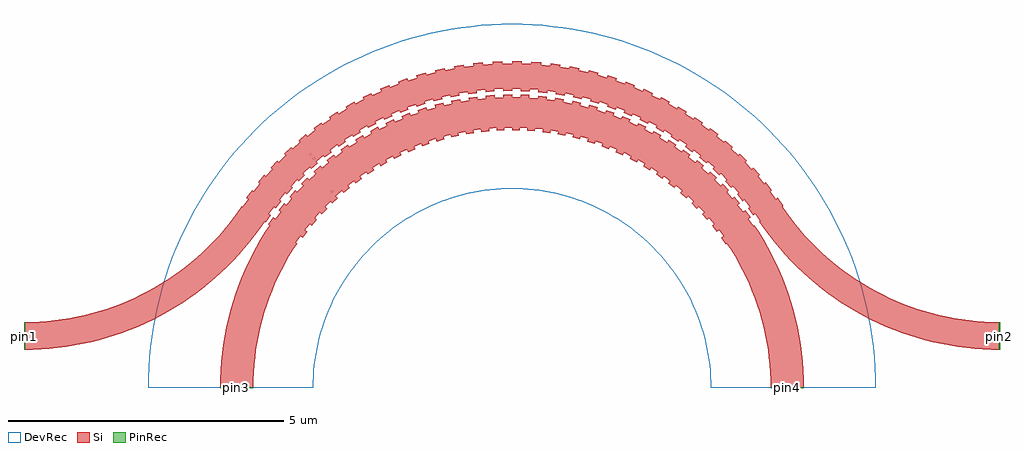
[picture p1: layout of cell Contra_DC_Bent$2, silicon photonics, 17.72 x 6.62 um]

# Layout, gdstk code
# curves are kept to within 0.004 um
import gdstk
lib = gdstk.Library(unit=1e-6, precision=1e-09)
def P(c, l, *ps):  # polygons
    for p in ps: c.add(gdstk.Polygon(p, *l))
Si = (1, 0)
PinRec = (1, 10)
DevRec = (68, 0)

contra_dc_bent_2 = lib.new_cell('Contra_DC_Bent$2')
P(contra_dc_bent_2, Si, [(-3.803,2.719),(-4.291,3.068),(-4.198,3.194),(-3.721,2.831)],
  [(-3.635,2.94),(-4.102,3.317),(-4.001,3.437),(-3.546,3.046)],
  [(3.721,2.831),(3.635,2.94),(4.102,3.317),(4.198,3.194)],
  [(3.882,2.605),(3.803,2.719),(4.291,3.068),(4.38,2.939)],
  [(-3.924,2.633),(-4.422,2.967),(-4.332,3.097),(-3.844,2.748)],
  [(-3.761,2.861),(-4.238,3.224),(-4.14,3.348),(-3.674,2.971)],
  [(3.844,2.748),(3.761,2.861),(4.238,3.224),(4.332,3.097)],
  [(8.852,0.689),(8.55,0.698),(8.248,0.724),(7.949,0.768),(7.652,0.828),(7.36,0.906),(7.216,0.951),(6.931,1.053),(6.653,1.172),(6.382,1.307),(6.119,1.457),(5.865,1.622),(5.622,1.801),(5.504,1.896),(5.276,2.095),(5.061,2.308),(4.858,2.532),(4.668,2.768),(4.492,3.014),(4.908,3.293),(5.067,3.07),(5.238,2.857),(5.518,2.556),(5.718,2.37),(5.929,2.195),(6.15,2.033),(6.379,1.884),(6.617,1.748),(6.862,1.626),(7.114,1.519),(7.371,1.426),(7.634,1.348),(8.035,1.26),(8.306,1.221),(8.578,1.197),(8.852,1.189)],
  [(-8.852,0.689),(-8.852,1.189),(-8.578,1.197),(-8.306,1.221),(-8.035,1.26),(-7.634,1.348),(-7.371,1.426),(-7.114,1.519),(-6.862,1.626),(-6.617,1.748),(-6.379,1.884),(-6.15,2.033),(-5.929,2.195),(-5.718,2.37),(-5.518,2.556),(-5.238,2.857),(-5.067,3.07),(-4.908,3.293),(-4.492,3.014),(-4.668,2.768),(-4.858,2.532),(-5.061,2.308),(-5.276,2.095),(-5.504,1.896),(-5.622,1.801),(-5.865,1.622),(-6.119,1.457),(-6.382,1.307),(-6.653,1.172),(-6.931,1.053),(-7.073,1),(-7.36,0.906),(-7.652,0.828),(-7.949,0.768),(-8.248,0.724),(-8.55,0.698)],
  [(2.014,4.219),(1.888,4.277),(2.13,4.826),(2.272,4.76)],
  [(2.261,4.092),(2.138,4.157),(2.413,4.691),(2.551,4.617)],
  [(2.5,3.951),(2.381,4.023),(2.687,4.539),(2.821,4.458)],
  [(2.73,3.795),(2.616,3.875),(2.952,4.372),(3.08,4.282)],
  [(2.95,3.627),(2.841,3.713),(3.206,4.189),(3.329,4.092)],
  [(3.16,3.445),(3.057,3.537),(3.449,3.991),(3.566,3.887)],
  [(3.359,3.251),(3.261,3.35),(3.68,3.78),(3.79,3.669)],
  [(3.546,3.046),(3.454,3.15),(3.897,3.555),(4.001,3.437)],
  [(0.139,4.673),(0,4.675),(0,5.275),(0.157,5.273)],
  [(0.416,4.656),(0.277,4.667),(0.313,5.266),(0.469,5.254)],
  [(0.692,4.624),(0.554,4.642),(0.625,5.238),(0.78,5.217)],
  [(0.965,4.574),(0.828,4.601),(0.935,5.192),(1.088,5.161)],
  [(0.28,4.717),(0.14,4.723),(0.158,5.323),(0.316,5.316)],
  [(0.56,4.692),(0.42,4.706),(0.474,5.304),(0.631,5.287)],
  [(0.837,4.65),(0.699,4.673),(0.788,5.266),(0.944,5.241)],
  [(1.112,4.592),(0.975,4.623),(1.099,5.21),(1.253,5.175)],
  [(1.382,4.518),(1.248,4.557),(1.406,5.136),(1.558,5.092)],
  [(1.648,4.428),(1.516,4.475),(1.708,5.043),(1.857,4.991)],
  [(1.908,4.323),(1.779,4.377),(2.005,4.933),(2.15,4.872)],
  [(2.161,4.202),(2.036,4.264),(2.294,4.806),(2.436,4.735)],
  [(2.407,4.066),(2.285,4.136),(2.575,4.661),(2.712,4.582)],
  [(2.644,3.916),(2.526,3.993),(2.847,4.5),(2.98,4.413)],
  [(2.872,3.752),(2.759,3.836),(3.109,4.323),(3.236,4.229)],
  [(3.089,3.575),(2.982,3.665),(3.36,4.131),(3.482,4.029)],
  [(3.296,3.386),(3.194,3.482),(3.6,3.924),(3.715,3.815)],
  [(3.491,3.184),(3.395,3.286),(3.826,3.704),(3.934,3.588)],
  [(3.674,2.971),(3.584,3.079),(4.039,3.47),(4.14,3.348)],
  [(1.234,4.509),(1.1,4.544),(1.241,5.127),(1.393,5.088)],
  [(0.32,5.38),(0.16,5.388),(0.175,5.887),(0.35,5.88)],
  [(0.639,5.352),(0.479,5.369),(0.524,5.867),(0.698,5.849)],
  [(0.955,5.305),(0.797,5.331),(0.871,5.825),(1.044,5.797)],
  [(1.268,5.239),(1.112,5.274),(1.215,5.763),(1.386,5.725)],
  [(1.577,5.154),(1.423,5.199),(1.555,5.681),(1.723,5.632)],
  [(1.88,5.051),(1.729,5.105),(1.89,5.579),(2.054,5.52)],
  [(2.177,4.931),(2.029,4.993),(2.217,5.457),(2.378,5.388)],
  [(2.465,4.793),(2.322,4.864),(2.537,5.315),(2.694,5.238)],
  [(2.746,4.638),(2.607,4.718),(2.848,5.155),(3,5.069)],
  [(3.016,4.467),(2.882,4.555),(3.149,4.977),(3.296,4.882)],
  [(3.276,4.28),(3.147,4.376),(3.439,4.782),(3.58,4.677)],
  [(3.524,4.078),(3.401,4.181),(3.717,4.569),(3.851,4.457)],
  [(3.76,3.862),(3.644,3.972),(3.982,4.34),(4.109,4.22)],
  [(3.982,3.632),(3.873,3.749),(4.232,4.096),(4.352,3.969)],
  [(4.191,3.389),(4.089,3.512),(4.468,3.838),(4.58,3.704)],
  [(4.385,3.135),(4.29,3.263),(4.688,3.566),(4.791,3.425)],
  [(0.161,5.428),(0,5.43),(0,5.93),(0.176,5.927)],
  [(0.483,5.408),(0.322,5.42),(0.352,5.92),(0.528,5.906)],
  [(0.803,5.37),(0.643,5.392),(0.703,5.888),(0.877,5.865)],
  [(1.12,5.313),(0.962,5.344),(1.051,5.836),(1.224,5.802)],
  [(1.434,5.237),(1.278,5.278),(1.395,5.763),(1.566,5.72)],
  [(1.742,5.143),(1.589,5.192),(1.735,5.671),(1.903,5.617)],
  [(2.044,5.03),(1.894,5.089),(2.068,5.558),(2.233,5.494)],
  [(2.339,4.9),(2.193,4.968),(2.395,5.425),(2.555,5.352)],
  [(2.626,4.753),(2.484,4.829),(2.712,5.273),(2.868,5.19)],
  [(2.903,4.589),(2.766,4.673),(3.021,5.103),(3.171,5.011)],
  [(3.171,4.408),(3.038,4.5),(3.318,4.915),(3.463,4.814)],
  [(3.427,4.212),(3.3,4.312),(3.604,4.709),(3.742,4.6)],
  [(3.671,4.001),(3.55,4.109),(3.877,4.487),(4.009,4.37)],
  [(3.902,3.777),(3.788,3.891),(4.137,4.249),(4.261,4.124)],
  [(4.119,3.538),(4.012,3.659),(4.381,3.996),(4.498,3.864)],
  [(4.322,3.288),(4.222,3.415),(4.611,3.729),(4.72,3.59)],
  [(4.509,3.025),(4.417,3.158),(4.824,3.449),(4.924,3.304)],
  [(1.5,4.428),(1.368,4.47),(1.543,5.044),(1.692,4.996)],
  [(1.76,4.331),(1.631,4.381),(1.84,4.944),(1.986,4.887)],
  [(-3.147,4.376),(-3.439,4.782),(-3.296,4.882),(-3.016,4.467)],
  [(-2.882,4.555),(-3.149,4.977),(-3,5.069),(-2.746,4.638)],
  [(-2.607,4.718),(-2.848,5.155),(-2.694,5.238),(-2.465,4.793)],
  [(-2.322,4.864),(-2.537,5.315),(-2.378,5.388),(-2.177,4.931)],
  [(-2.029,4.993),(-2.217,5.457),(-2.054,5.52),(-1.88,5.051)],
  [(-1.729,5.105),(-1.89,5.579),(-1.723,5.632),(-1.577,5.154)],
  [(-1.423,5.199),(-1.555,5.681),(-1.386,5.725),(-1.268,5.239)],
  [(-1.112,5.274),(-1.215,5.763),(-1.044,5.797),(-0.955,5.305)],
  [(-0.797,5.331),(-0.871,5.825),(-0.698,5.849),(-0.639,5.352)],
  [(-0.479,5.369),(-0.524,5.867),(-0.35,5.88),(-0.32,5.38)],
  [(-0.16,5.388),(-0.175,5.887),(0,5.89),(0,5.39)],
  [(-3.194,3.482),(-3.6,3.924),(-3.482,4.029),(-3.089,3.575)],
  [(-2.982,3.665),(-3.36,4.131),(-3.236,4.229),(-2.872,3.752)],
  [(-2.759,3.836),(-3.109,4.323),(-2.98,4.413),(-2.644,3.916)],
  [(-2.526,3.993),(-2.847,4.5),(-2.712,4.582),(-2.407,4.066)],
  [(-2.285,4.136),(-2.575,4.661),(-2.436,4.735),(-2.161,4.202)],
  [(-2.036,4.264),(-2.294,4.806),(-2.15,4.872),(-1.908,4.323)],
  [(-1.779,4.377),(-2.005,4.933),(-1.857,4.991),(-1.648,4.428)],
  [(-1.516,4.475),(-1.708,5.043),(-1.558,5.092),(-1.382,4.518)],
  [(-1.248,4.557),(-1.406,5.136),(-1.253,5.175),(-1.112,4.592)],
  [(-0.975,4.623),(-1.099,5.21),(-0.944,5.241),(-0.837,4.65)],
  [(-0.699,4.673),(-0.788,5.266),(-0.631,5.287),(-0.56,4.692)],
  [(-0.42,4.706),(-0.474,5.304),(-0.316,5.316),(-0.28,4.717)],
  [(-0.14,4.723),(-0.158,5.323),(0,5.325),(0,4.725)],
  [(-2.381,4.023),(-2.687,4.539),(-2.551,4.617),(-2.261,4.092)],
  [(-2.138,4.157),(-2.413,4.691),(-2.272,4.76),(-2.014,4.219)],
  [(-1.888,4.277),(-2.13,4.826),(-1.986,4.887),(-1.76,4.331)],
  [(-4.417,3.158),(-4.824,3.449),(-4.72,3.59),(-4.322,3.288)],
  [(-4.222,3.415),(-4.611,3.729),(-4.498,3.864),(-4.119,3.538)],
  [(-4.012,3.659),(-4.381,3.996),(-4.261,4.124),(-3.902,3.777)],
  [(-3.788,3.891),(-4.137,4.249),(-4.009,4.37),(-3.671,4.001)],
  [(-3.55,4.109),(-3.877,4.487),(-3.742,4.6),(-3.427,4.212)],
  [(-3.3,4.312),(-3.604,4.709),(-3.463,4.814),(-3.171,4.408)],
  [(-3.038,4.5),(-3.318,4.915),(-3.171,5.011),(-2.903,4.589)],
  [(-2.766,4.673),(-3.021,5.103),(-2.868,5.19),(-2.626,4.753)],
  [(-2.484,4.829),(-2.712,5.273),(-2.555,5.352),(-2.339,4.9)],
  [(-2.193,4.968),(-2.395,5.425),(-2.233,5.494),(-2.044,5.03)],
  [(-1.894,5.089),(-2.068,5.558),(-1.903,5.617),(-1.742,5.143)],
  [(-1.589,5.192),(-1.735,5.671),(-1.566,5.72),(-1.434,5.237)],
  [(-1.278,5.278),(-1.395,5.763),(-1.224,5.802),(-1.12,5.313)],
  [(-0.962,5.344),(-1.051,5.836),(-0.877,5.865),(-0.803,5.37)],
  [(-0.643,5.392),(-0.703,5.888),(-0.528,5.906),(-0.483,5.408)],
  [(-0.322,5.42),(-0.352,5.92),(-0.176,5.927),(-0.161,5.428)],
  [(-1.631,4.381),(-1.84,4.944),(-1.692,4.996),(-1.5,4.428)],
  [(-1.368,4.47),(-1.543,5.044),(-1.393,5.088),(-1.234,4.509)],
  [(-1.1,4.544),(-1.241,5.127),(-1.088,5.161),(-0.965,4.574)],
  [(-0.828,4.601),(-0.935,5.192),(-0.78,5.217),(-0.692,4.624)],
  [(-0.554,4.642),(-0.625,5.238),(-0.469,5.254),(-0.416,4.656)],
  [(-0.277,4.667),(-0.313,5.266),(-0.157,5.273),(-0.139,4.673)],
  [(-3.454,3.15),(-3.897,3.555),(-3.79,3.669),(-3.359,3.251)],
  [(-3.261,3.35),(-3.68,3.78),(-3.566,3.887),(-3.16,3.445)],
  [(-3.057,3.537),(-3.449,3.991),(-3.329,4.092),(-2.95,3.627)],
  [(-2.841,3.713),(-3.206,4.189),(-3.08,4.282),(-2.73,3.795)],
  [(-2.616,3.875),(-2.952,4.372),(-2.821,4.458),(-2.5,3.951)],
  [(-3.584,3.079),(-4.039,3.47),(-3.934,3.588),(-3.491,3.184)],
  [(-3.395,3.286),(-3.826,3.704),(-3.715,3.815),(-3.296,3.386)],
  [(-4.476,3.003),(-4.891,3.282),(-4.791,3.425),(-4.385,3.135)],
  [(-4.29,3.263),(-4.688,3.566),(-4.58,3.704),(-4.191,3.389)],
  [(-4.089,3.512),(-4.468,3.838),(-4.352,3.969),(-3.982,3.632)],
  [(-3.873,3.749),(-4.232,4.096),(-4.109,4.22),(-3.76,3.862)],
  [(-3.644,3.972),(-3.982,4.34),(-3.851,4.457),(-3.524,4.078)],
  [(-3.401,4.181),(-3.717,4.569),(-3.58,4.677),(-3.276,4.28)],
  [(-5.3,0),(-5.291,0.313),(-5.263,0.625),(-5.242,0.78),(-5.217,0.935),(-5.153,1.241),(-5.07,1.543),(-4.97,1.84),(-4.914,1.986),(-4.788,2.273),(-4.719,2.413),(-4.568,2.688),(-4.401,2.953),(-3.903,2.619),(-4.051,2.384),(-4.246,2.016),(-4.304,1.889),(-4.408,1.632),(-4.496,1.369),(-4.535,1.235),(-4.6,0.965),(-4.649,0.692),(-4.682,0.416),(-4.692,0.278),(-4.7,0)],
  [(4.7,0),(4.692,0.278),(4.682,0.416),(4.649,0.692),(4.6,0.965),(4.535,1.235),(4.496,1.369),(4.408,1.632),(4.304,1.889),(4.246,2.016),(4.051,2.384),(3.903,2.619),(4.401,2.953),(4.568,2.688),(4.719,2.413),(4.853,2.13),(4.97,1.84),(5.07,1.543),(5.153,1.241),(5.217,0.935),(5.263,0.625),(5.279,0.469),(5.298,0.157),(5.3,0)])
P(contra_dc_bent_2, DevRec, [(-6.61,0),(-6.6,0.371),(-6.587,0.556),(-6.545,0.924),(-6.483,1.29),(-6.444,1.471),(-6.352,1.83),(-6.239,2.183),(-6.107,2.53),(-6.033,2.7),(-5.873,3.034),(-5.693,3.358),(-5.496,3.672),(-5.281,3.975),(-5.05,4.265),(-4.929,4.405),(-4.674,4.674),(-4.405,4.929),(-4.265,5.05),(-3.975,5.281),(-3.672,5.496),(-3.358,5.693),(-3.034,5.873),(-2.868,5.955),(-2.53,6.107),(-2.183,6.239),(-1.83,6.352),(-1.471,6.444),(-1.29,6.483),(-0.924,6.545),(-0.556,6.587),(-0.371,6.6),(0,6.61),(0.371,6.6),(0.556,6.587),(0.924,6.545),(1.29,6.483),(1.471,6.444),(1.83,6.352),(2.183,6.239),(2.53,6.107),(2.7,6.033),(3.034,5.873),(3.358,5.693),(3.672,5.496),(3.975,5.281),(4.265,5.05),(4.405,4.929),(4.674,4.674),(4.929,4.405),(5.05,4.265),(5.281,3.975),(5.496,3.672),(5.693,3.358),(5.873,3.034),(5.955,2.868),(6.107,2.53),(6.239,2.183),(6.352,1.83),(6.444,1.471),(6.483,1.29),(6.545,0.924),(6.587,0.556),(6.6,0.371),(6.61,0),(3.61,0),(3.597,0.303),(3.575,0.505),(3.541,0.704),(3.496,0.902),(3.44,1.096),(3.335,1.381),(3.252,1.566),(3.16,1.746),(3.002,2.006),(2.884,2.171),(2.758,2.329),(2.553,2.553),(2.329,2.758),(2.171,2.884),(2.006,3.002),(1.746,3.16),(1.566,3.252),(1.381,3.335),(1.096,3.44),(0.902,3.496),(0.704,3.541),(0.505,3.575),(0.303,3.597),(0,3.61),(-0.303,3.597),(-0.505,3.575),(-0.704,3.541),(-0.902,3.496),(-1.096,3.44),(-1.381,3.335),(-1.566,3.252),(-1.746,3.16),(-2.006,3.002),(-2.171,2.884),(-2.329,2.758),(-2.553,2.553),(-2.758,2.329),(-2.884,2.171),(-3.002,2.006),(-3.16,1.746),(-3.252,1.566),(-3.335,1.381),(-3.44,1.096),(-3.496,0.902),(-3.541,0.704),(-3.575,0.505),(-3.597,0.303),(-3.61,0)])
contra_dc_bent_2.add(gdstk.FlexPath([(8.842,0.939),(8.862,0.939)], 0.5, ends="flush", simple_path=True, layer=1, datatype=10))  # PinRec
contra_dc_bent_2.add(gdstk.FlexPath([(-8.842,0.939),(-8.862,0.939)], 0.5, ends="flush", simple_path=True, layer=1, datatype=10))  # PinRec
contra_dc_bent_2.add(gdstk.FlexPath([(-5,0.01),(-5,-0.01)], 0.6, ends="flush", simple_path=True, layer=1, datatype=10))  # PinRec
contra_dc_bent_2.add(gdstk.FlexPath([(5,0.01),(5,-0.01)], 0.6, ends="flush", simple_path=True, layer=1, datatype=10))  # PinRec
contra_dc_bent_2.add(gdstk.Label('pin2', (8.852,0.939), layer=1, texttype=10))
contra_dc_bent_2.add(gdstk.Label('pin1', (-8.852,0.939), layer=1, texttype=10))
contra_dc_bent_2.add(gdstk.Label('pin3', (-5,0), layer=1, texttype=10))
contra_dc_bent_2.add(gdstk.Label('pin4', (5,0), layer=1, texttype=10))

lib.write_gds('Contra_DC_Bent_2.gds')
